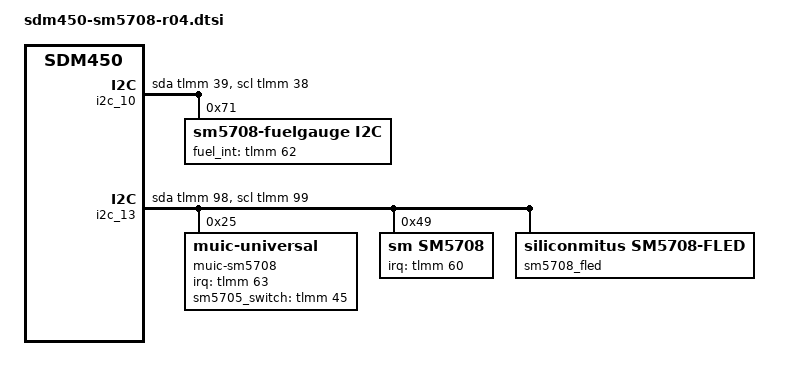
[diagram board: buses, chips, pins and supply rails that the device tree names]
/* Copyright (c) 2012, The Linux Foundation. All rights reserved.
 *
 * This program is free software; you can redistribute it and/or modify
 * it under the terms of the GNU General Public License version 2 and
 * only version 2 as published by the Free Software Foundation.
 *
 * This program is distributed in the hope that it will be useful,
 * but WITHOUT ANY WARRANTY; without even the implied warranty of
 * MERCHANTABILITY or FITNESS FOR A PARTICULAR PURPOSE.  See the
 * GNU General Public License for more details.
 */

&soc {
	i2c_10: i2c@10 {
		cell-index = <10>;
		compatible = "i2c-gpio";
		gpios = <&tlmm 39 0 /* sda */
			&tlmm 38 0 /* scl */
			>;
		#address-cells = <1>;
		#size-cells = <0>;

		sm5708-fuelgauge@71 {
			compatible = "sm5708-fuelgauge,i2c";
			reg = <0x71>;
			pinctrl-names = "default";
			pinctrl-0 = <&fg_i2c_default &fuel_int_default>;
			pinctrl-1 = <&fg_i2c_active &fuel_int_active>;
			pinctrl-2 = <&fg_i2c_suspend &fuel_int_suspend>;
			fuelgauge,fuel_int = <&tlmm 62 0>;
			fuelgauge,fuel_alert_soc = <1>;
			fuelgauge,capacity_max = <1000>;
			fuelgauge,capacity_max_margin = <70>;
			fuelgauge,capacity_min = <0>;
			fuelgauge,capacity_calculation_type = <0x1F>;
			fuelgauge,type_str = "BATTERY";
			fuelgauge,model_type = <1>;
			fuelgauge,fg_log_enable = <1>;
		};
	};

	i2c_13: i2c@13 {
		cell-index = <13>;
		compatible = "i2c-gpio";
		gpios = <&tlmm 98 0 /* sda */
			&tlmm 99 0	/* scl */
			>;
		i2c-gpio,delay-us = <2>;
		#address-cells = <1>;
		#size-cells = <0>;

		muic-sm5708@25 {
			status = "okay";
			compatible = "muic-universal";
			reg = <0x25>;
			interrupt-parent = <&tlmm>;
			interrupts = <63 0>;
			muic-universal,irq-gpio = <&tlmm 63 0x00>;
			sm5708,wakeup;
			muic-universal,chip_name = "sm,sm5708";
			pinctrl-names = "muic_i2c_pins_default",
				"muic_i2c_pins_active",
				"muic_i2c_pins_suspend";
			pinctrl-0 = <&sm5708_i2c_default &sm5708_interrupt_default &sm5708_rst_default>;
			pinctrl-1 = <&sm5708_i2c_active &sm5708_interrupt_default &sm5708_rst_default>;
			pinctrl-2 = <&sm5708_i2c_suspend &sm5708_interrupt_default &sm5708_rst_default>;
			muic,sm5705_switch_gpio = <&tlmm 45 0>;
			muic,max-afc-support-volt = <4>;
			muic,max-afc-support-cur = <8>;
		};

		sm5708@49{
			compatible = "sm,sm5708";
			reg = <0x49>;
			interrupt-parent = <&tlmm>;
			sm5708,irq-gpio = <&tlmm 60 0x00>;
			pinctrl-names = "default";
			pinctrl-0 = <&charger_int_active &chg_en_default>;
		};

		sm5708_fled {
			compatible = "siliconmitus,sm5708-fled";
			enable = <1 1>;
			sm5708_fled@0 {
				id=<0>;
				status = "okay";
				flash-mode-current-mA = <1100>;
				preflash-mode-current-mA = <150>;
				torch-mode-current-mA = <75>;
				used-gpio-control = <1>;
				flash-en-gpio = <&expander_gpios 3 0>;
				torch-en-gpio = <&expander_gpios 2 0>;
			};
			sm5708_fled@1 {
				id=<1>;
				status = "okay";
				flash-mode-current-mA = <300>;
				preflash-mode-current-mA = <50>;
				torch-mode-current-mA = <130>;
				used-gpio-control = <1>;
				flash-en-gpio = <&expander_gpios 5 0>;
				torch-en-gpio = <&expander_gpios 4 0>;
			};
//			/*  SAMSUNG: We dont use the below */
//			sm5708_leds1: sm5708-leds1 {
//				ledname = "leds-sec1";
//				/* sm5708_FLASH_LED_1 */
//				id = <0>;
//				/* sm5708_FLASH_CURRENT */
//				brightness = <0xC>;
//				/* sm5708_FLASH_TIMEOUT */
//				timeout = <0x3>;
//				default-trigger = "flash_trigger";
//			};
//
//			sm5708_leds2: sm5708-leds2 {
//				ledname = "torch-sec1";
//				/* sm5708_TORCH_LED_1 */
//				id = <1>;
//				/* sm5708_TORCH_CURRENT */
//				brightness = <0xC>;
//				/* sm5708_TORCH_TIMEOUT */
//				timeout = <0xF>;
//				default-trigger = "torch_trigger";
//			};
		};
	};
};

/ {
	muic {
		status = "okay";
		muic,support-list = "+OTG:GND",
					"-MHL:1K",
					"-VZW Accessory:28.7K",
					"-VZW Incompatible:34K",
					"+Smartdock:40.2K",
					"-HMT:49.9K",
					"-Audiodock:64.9K",
					"-USB LANHUB:80.07K",
					"-Charging Cable:102K",
					"-Universal Multimedia dock:121K",
					"+Jig USB Off:255K",
					"+Jig USB On:301K",
					"+Deskdock:365K",
					"-TYPE2 Charger:442K",
					"+Jig UART Off:523K",
					"+Jig UART On:619K",
					"+TA:OPEN",
					"+USB:OPEN",
					"+CDP:OPEN",
					"+Undefined Charging:XXX";
	};
};

